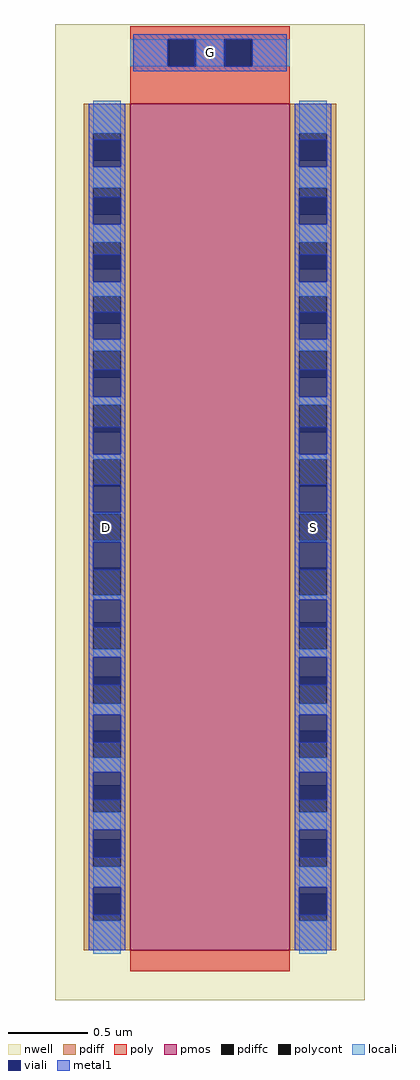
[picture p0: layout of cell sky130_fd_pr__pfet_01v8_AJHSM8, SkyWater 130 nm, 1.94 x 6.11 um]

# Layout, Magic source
magic
tech sky130A
magscale 1 2
<< nwell >>
rect -194 -628 194 594
<< pmos >>
rect -100 -566 100 494
<< pdiff >>
rect -158 457 -100 494
rect -158 423 -146 457
rect -112 423 -100 457
rect -158 389 -100 423
rect -158 355 -146 389
rect -112 355 -100 389
rect -158 321 -100 355
rect -158 287 -146 321
rect -112 287 -100 321
rect -158 253 -100 287
rect -158 219 -146 253
rect -112 219 -100 253
rect -158 185 -100 219
rect -158 151 -146 185
rect -112 151 -100 185
rect -158 117 -100 151
rect -158 83 -146 117
rect -112 83 -100 117
rect -158 49 -100 83
rect -158 15 -146 49
rect -112 15 -100 49
rect -158 -19 -100 15
rect -158 -53 -146 -19
rect -112 -53 -100 -19
rect -158 -87 -100 -53
rect -158 -121 -146 -87
rect -112 -121 -100 -87
rect -158 -155 -100 -121
rect -158 -189 -146 -155
rect -112 -189 -100 -155
rect -158 -223 -100 -189
rect -158 -257 -146 -223
rect -112 -257 -100 -223
rect -158 -291 -100 -257
rect -158 -325 -146 -291
rect -112 -325 -100 -291
rect -158 -359 -100 -325
rect -158 -393 -146 -359
rect -112 -393 -100 -359
rect -158 -427 -100 -393
rect -158 -461 -146 -427
rect -112 -461 -100 -427
rect -158 -495 -100 -461
rect -158 -529 -146 -495
rect -112 -529 -100 -495
rect -158 -566 -100 -529
rect 100 457 158 494
rect 100 423 112 457
rect 146 423 158 457
rect 100 389 158 423
rect 100 355 112 389
rect 146 355 158 389
rect 100 321 158 355
rect 100 287 112 321
rect 146 287 158 321
rect 100 253 158 287
rect 100 219 112 253
rect 146 219 158 253
rect 100 185 158 219
rect 100 151 112 185
rect 146 151 158 185
rect 100 117 158 151
rect 100 83 112 117
rect 146 83 158 117
rect 100 49 158 83
rect 100 15 112 49
rect 146 15 158 49
rect 100 -19 158 15
rect 100 -53 112 -19
rect 146 -53 158 -19
rect 100 -87 158 -53
rect 100 -121 112 -87
rect 146 -121 158 -87
rect 100 -155 158 -121
rect 100 -189 112 -155
rect 146 -189 158 -155
rect 100 -223 158 -189
rect 100 -257 112 -223
rect 146 -257 158 -223
rect 100 -291 158 -257
rect 100 -325 112 -291
rect 146 -325 158 -291
rect 100 -359 158 -325
rect 100 -393 112 -359
rect 146 -393 158 -359
rect 100 -427 158 -393
rect 100 -461 112 -427
rect 146 -461 158 -427
rect 100 -495 158 -461
rect 100 -529 112 -495
rect 146 -529 158 -495
rect 100 -566 158 -529
<< pdiffc >>
rect -146 423 -112 457
rect -146 355 -112 389
rect -146 287 -112 321
rect -146 219 -112 253
rect -146 151 -112 185
rect -146 83 -112 117
rect -146 15 -112 49
rect -146 -53 -112 -19
rect -146 -121 -112 -87
rect -146 -189 -112 -155
rect -146 -257 -112 -223
rect -146 -325 -112 -291
rect -146 -393 -112 -359
rect -146 -461 -112 -427
rect -146 -529 -112 -495
rect 112 423 146 457
rect 112 355 146 389
rect 112 287 146 321
rect 112 219 146 253
rect 112 151 146 185
rect 112 83 146 117
rect 112 15 146 49
rect 112 -53 146 -19
rect 112 -121 146 -87
rect 112 -189 146 -155
rect 112 -257 146 -223
rect 112 -325 146 -291
rect 112 -393 146 -359
rect 112 -461 146 -427
rect 112 -529 146 -495
<< poly >>
rect -100 575 100 591
rect -100 541 -51 575
rect -17 541 17 575
rect 51 541 100 575
rect -100 494 100 541
rect -100 -592 100 -566
<< polycont >>
rect -51 541 -17 575
rect 17 541 51 575
<< locali >>
rect -100 541 -53 575
rect -17 541 17 575
rect 53 541 100 575
rect -146 457 -112 498
rect -146 389 -112 415
rect -146 321 -112 343
rect -146 253 -112 271
rect -146 185 -112 199
rect -146 117 -112 127
rect -146 49 -112 55
rect -146 -19 -112 -17
rect -146 -55 -112 -53
rect -146 -127 -112 -121
rect -146 -199 -112 -189
rect -146 -271 -112 -257
rect -146 -343 -112 -325
rect -146 -415 -112 -393
rect -146 -487 -112 -461
rect -146 -570 -112 -529
rect 112 457 146 498
rect 112 389 146 415
rect 112 321 146 343
rect 112 253 146 271
rect 112 185 146 199
rect 112 117 146 127
rect 112 49 146 55
rect 112 -19 146 -17
rect 112 -55 146 -53
rect 112 -127 146 -121
rect 112 -199 146 -189
rect 112 -271 146 -257
rect 112 -343 146 -325
rect 112 -415 146 -393
rect 112 -487 146 -461
rect 112 -570 146 -529
<< viali >>
rect -53 541 -51 575
rect -51 541 -19 575
rect 19 541 51 575
rect 51 541 53 575
rect -146 423 -112 449
rect -146 415 -112 423
rect -146 355 -112 377
rect -146 343 -112 355
rect -146 287 -112 305
rect -146 271 -112 287
rect -146 219 -112 233
rect -146 199 -112 219
rect -146 151 -112 161
rect -146 127 -112 151
rect -146 83 -112 89
rect -146 55 -112 83
rect -146 15 -112 17
rect -146 -17 -112 15
rect -146 -87 -112 -55
rect -146 -89 -112 -87
rect -146 -155 -112 -127
rect -146 -161 -112 -155
rect -146 -223 -112 -199
rect -146 -233 -112 -223
rect -146 -291 -112 -271
rect -146 -305 -112 -291
rect -146 -359 -112 -343
rect -146 -377 -112 -359
rect -146 -427 -112 -415
rect -146 -449 -112 -427
rect -146 -495 -112 -487
rect -146 -521 -112 -495
rect 112 423 146 449
rect 112 415 146 423
rect 112 355 146 377
rect 112 343 146 355
rect 112 287 146 305
rect 112 271 146 287
rect 112 219 146 233
rect 112 199 146 219
rect 112 151 146 161
rect 112 127 146 151
rect 112 83 146 89
rect 112 55 146 83
rect 112 15 146 17
rect 112 -17 146 15
rect 112 -87 146 -55
rect 112 -89 146 -87
rect 112 -155 146 -127
rect 112 -161 146 -155
rect 112 -223 146 -199
rect 112 -233 146 -223
rect 112 -291 146 -271
rect 112 -305 146 -291
rect 112 -359 146 -343
rect 112 -377 146 -359
rect 112 -427 146 -415
rect 112 -449 146 -427
rect 112 -495 146 -487
rect 112 -521 146 -495
<< metal1 >>
rect -96 575 96 581
rect -96 541 -53 575
rect -19 541 19 575
rect 53 541 96 575
rect -96 535 96 541
rect -152 449 -106 494
rect -152 415 -146 449
rect -112 415 -106 449
rect -152 377 -106 415
rect -152 343 -146 377
rect -112 343 -106 377
rect -152 305 -106 343
rect -152 271 -146 305
rect -112 271 -106 305
rect -152 233 -106 271
rect -152 199 -146 233
rect -112 199 -106 233
rect -152 161 -106 199
rect -152 127 -146 161
rect -112 127 -106 161
rect -152 89 -106 127
rect -152 55 -146 89
rect -112 55 -106 89
rect -152 17 -106 55
rect -152 -17 -146 17
rect -112 -17 -106 17
rect -152 -55 -106 -17
rect -152 -89 -146 -55
rect -112 -89 -106 -55
rect -152 -127 -106 -89
rect -152 -161 -146 -127
rect -112 -161 -106 -127
rect -152 -199 -106 -161
rect -152 -233 -146 -199
rect -112 -233 -106 -199
rect -152 -271 -106 -233
rect -152 -305 -146 -271
rect -112 -305 -106 -271
rect -152 -343 -106 -305
rect -152 -377 -146 -343
rect -112 -377 -106 -343
rect -152 -415 -106 -377
rect -152 -449 -146 -415
rect -112 -449 -106 -415
rect -152 -487 -106 -449
rect -152 -521 -146 -487
rect -112 -521 -106 -487
rect -152 -566 -106 -521
rect 106 449 152 494
rect 106 415 112 449
rect 146 415 152 449
rect 106 377 152 415
rect 106 343 112 377
rect 146 343 152 377
rect 106 305 152 343
rect 106 271 112 305
rect 146 271 152 305
rect 106 233 152 271
rect 106 199 112 233
rect 146 199 152 233
rect 106 161 152 199
rect 106 127 112 161
rect 146 127 152 161
rect 106 89 152 127
rect 106 55 112 89
rect 146 55 152 89
rect 106 17 152 55
rect 106 -17 112 17
rect 146 -17 152 17
rect 106 -55 152 -17
rect 106 -89 112 -55
rect 146 -89 152 -55
rect 106 -127 152 -89
rect 106 -161 112 -127
rect 146 -161 152 -127
rect 106 -199 152 -161
rect 106 -233 112 -199
rect 146 -233 152 -199
rect 106 -271 152 -233
rect 106 -305 112 -271
rect 146 -305 152 -271
rect 106 -343 152 -305
rect 106 -377 112 -343
rect 146 -377 152 -343
rect 106 -415 152 -377
rect 106 -449 112 -415
rect 146 -449 152 -415
rect 106 -487 152 -449
rect 106 -521 112 -487
rect 146 -521 152 -487
rect 106 -566 152 -521
<< labels >>
rlabel locali s -129 -36 -129 -36 4 D
rlabel locali s 129 -36 129 -36 4 S
rlabel locali s 0 558 0 558 4 G
<< end >>
